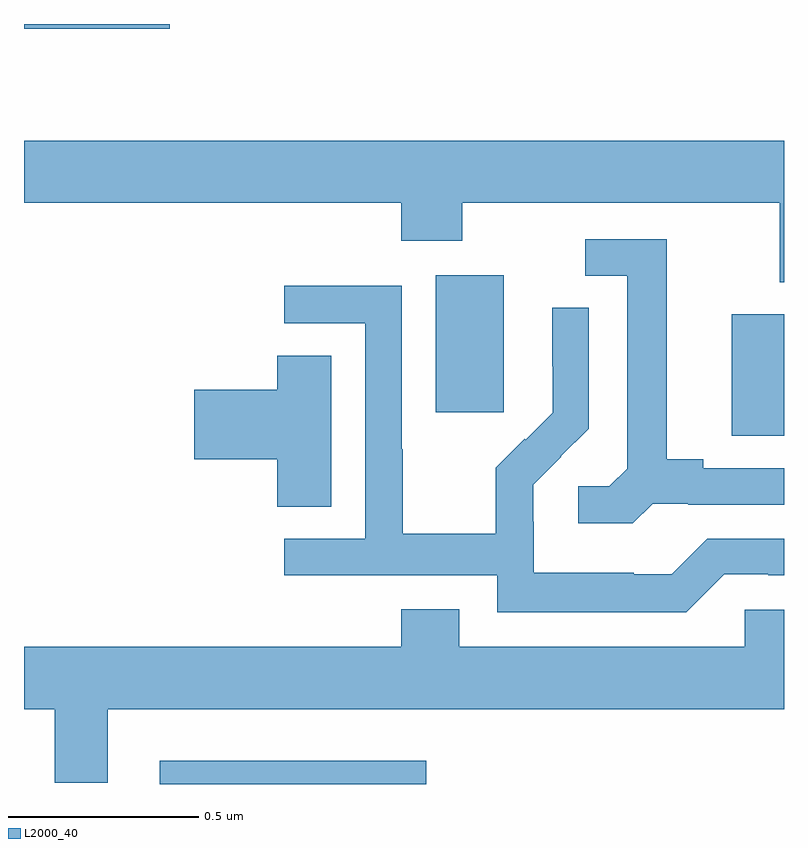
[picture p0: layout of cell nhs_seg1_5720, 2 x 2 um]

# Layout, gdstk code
import gdstk
lib = gdstk.Library(unit=1e-6, precision=1e-09)
def R(c, l, rs):  # rectangles x0, y0, x1, y1
    for r in rs: c.add(gdstk.rectangle(r[:2], r[2:], *l))
def P(c, l, *ps):  # polygons
    for p in ps: c.add(gdstk.Polygon(p, *l))
L2000_40 = (2000, 40)

nhs_seg1_5720 = lib.new_cell('nhs_seg1_5720')
R(nhs_seg1_5720, L2000_40, [(182.357,554.199,183.058,554.26), (183.863,555.115,184,555.435), (183.083,555.177,183.262,555.538), (182,556.186,182.383,556.199)])
P(nhs_seg1_5720, L2000_40, [(184,555.892),(182,555.892),(182,555.728),(182.993,555.728),(182.993,555.629),(183.153,555.629),(183.153,555.728),(183.989,555.728),(183.989,555.52),(184,555.52)],
  [(183.654,554.937),(183.748,554.937),(183.748,554.934),(184,554.934),(184,555.03),(183.787,555.03),(183.787,555.053),(183.691,555.053),(183.691,555.633),(183.477,555.633),(183.477,555.537),(183.587,555.537),(183.587,555.029),(183.54,554.982),(183.459,554.982),(183.459,554.885),(183.602,554.885)],
  [(183.843,554.751),(183.959,554.751),(183.959,554.748),(184,554.748),(184,554.844),(183.798,554.844),(183.705,554.751),(183.605,554.751),(183.605,554.755),(183.342,554.755),(183.342,554.889),(183.34,554.889),(183.34,554.986),(183.414,555.06),(183.413,555.061),(183.486,555.134),(183.486,555.452),(183.39,555.452),(183.39,555.298),(183.392,555.298),(183.392,555.176),(183.321,555.105),(183.318,555.108),(183.241,555.031),(183.241,554.857),(182.997,554.857),(182.997,555.08),(182.994,555.08),(182.994,555.51),(182.685,555.51),(182.685,555.411),(182.898,555.411),(182.898,554.844),(182.685,554.844),(182.685,554.748),(183.246,554.748),(183.246,554.651),(183.743,554.651)],
  [(182.809,555.326),(182.666,555.326),(182.666,555.236),(182.448,555.236),(182.448,555.053),(182.666,555.053),(182.666,554.929),(182.809,554.929)],
  [(182.221,554.396),(184,554.396),(184,554.658),(183.897,554.658),(183.897,554.56),(183.145,554.56),(183.145,554.659),(182.993,554.659),(182.993,554.56),(182,554.56),(182,554.396),(182.081,554.396),(182.081,554.202),(182.221,554.202)])

lib.write_gds('nhs_seg1_5720.gds')
